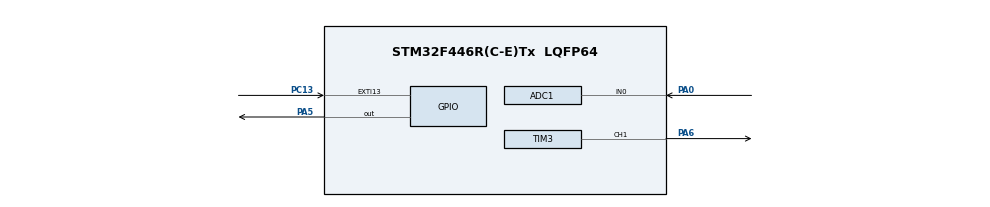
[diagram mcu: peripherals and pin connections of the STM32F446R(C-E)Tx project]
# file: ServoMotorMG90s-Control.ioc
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ADC1.Channel-0\#ChannelRegularConversion=ADC_CHANNEL_0
ADC1.ContinuousConvMode=DISABLE
ADC1.NbrOfConversionFlag=1
ADC1.Rank-0\#ChannelRegularConversion=1
ADC1.SamplingTime-0\#ChannelRegularConversion=ADC_SAMPLETIME_84CYCLES
ADC1.master=1
Mcu.Family=STM32F4
Mcu.Name=STM32F446R(C-E)Tx
Mcu.Package=LQFP64
NVIC.EXTI15_10_IRQn=true\:0\:0\:false\:false\:true\:true\:true\:true
NVIC.PriorityGroup=NVIC_PRIORITYGROUP_4
PA0-WKUP.Signal=ADCx_IN0
PA13.Mode=Serial_Wire
PA13.Signal=SYS_JTMS-SWDIO
PA14.Mode=Serial_Wire
PA14.Signal=SYS_JTCK-SWCLK
PA5.Signal=GPIO_Output
PA6.Signal=S_TIM3_CH1
PC13.GPIO_ModeDefaultEXTI=GPIO_MODE_IT_FALLING
PC13.Signal=GPXTI13
ProjectManager.HeapSize=0x200
ProjectManager.StackSize=0x400
ProjectManager.TargetToolchain=STM32CubeIDE
RCC.CortexFreq_Value=16000000
RCC.USBFreq_Value=96000000
RCC.VCOOutputFreq_Value=192000000
SH.ADCx_IN0.0=ADC1_IN0,IN0
SH.S_TIM3_CH1.0=TIM3_CH1,PWM Generation1 CH1
TIM3.AutoReloadPreload=TIM_AUTORELOAD_PRELOAD_ENABLE
TIM3.Channel-PWM\ Generation1\ CH1=TIM_CHANNEL_1
TIM3.Period=19999
TIM3.Prescaler=15
VP_TIM3_VS_ClockSourceINT.Mode=Internal
board=custom

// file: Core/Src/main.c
/* USER CODE BEGIN Header */
/**
  ******************************************************************************
  * @file           : main.c
  * @brief          : Main program body
  ******************************************************************************
  * @attention
  *
  * Copyright (c) 2026 STMicroelectronics.
  * All rights reserved.
  *
  * This software is licensed under terms that can be found in the LICENSE file
  * in the root directory of this software component.
  * If no LICENSE file comes with this software, it is provided AS-IS.
  *
  ******************************************************************************
  */
/* USER CODE END Header */
#include "main.h"

/* USER CODE BEGIN PD */
#define SERVO_MIN_US   500
#define SERVO_MAX_US   2700
#define ADC_MAX        4095
#define MODE_AUTO      0
#define MODE_POT       1
#define DEBOUNCE_MS    200
/* USER CODE END PD */

ADC_HandleTypeDef hadc1;

TIM_HandleTypeDef htim3;

/* USER CODE BEGIN PV */
volatile uint8_t  mode = MODE_AUTO;
volatile uint32_t last_press_tick = 0;

uint32_t adc_raw = 0;
uint32_t adc_filtered = 0;
uint32_t pulse_us = 1500;

int32_t cycle_angle = 0;
int32_t cycle_dir = 1;
/* USER CODE END PV */

void SystemClock_Config(void);
static void MX_GPIO_Init(void);
static void MX_TIM3_Init(void);
static void MX_ADC1_Init(void);

int main(void)
{

  /* MCU Configuration--------------------------------------------------------*/

  /* Reset of all peripherals, Initializes the Flash interface and the Systick. */
  HAL_Init();

  /* Configure the system clock */
  SystemClock_Config();

  /* Initialize all configured peripherals */
  MX_GPIO_Init();
  MX_TIM3_Init();
  MX_ADC1_Init();
  /* USER CODE BEGIN 2 */
  HAL_TIM_PWM_Start(&htim3, TIM_CHANNEL_1);
  HAL_GPIO_WritePin(GPIOA, GPIO_PIN_5, GPIO_PIN_RESET);
  /* USER CODE END 2 */

  /* Infinite loop */
  while (1)
  {

    /* USER CODE BEGIN 3 */
	  if (mode == MODE_AUTO)
	  {
	      cycle_angle += cycle_dir;
	      if (cycle_angle >= 180) { cycle_angle = 180; cycle_dir = -1; }
	      else if (cycle_angle <= 0) { cycle_angle = 0; cycle_dir = 1; }

	      pulse_us = SERVO_MIN_US + ((uint32_t)cycle_angle * (SERVO_MAX_US - SERVO_MIN_US)) / 180;
	  }
	  else
	  {
	      HAL_ADC_Start(&hadc1);
	      if (HAL_ADC_PollForConversion(&hadc1, 10) == HAL_OK)
	      {
	          adc_raw = HAL_ADC_GetValue(&hadc1);
	          adc_filtered = (adc_filtered * 7 + adc_raw) / 8;
	          pulse_us = SERVO_MIN_US + (adc_filtered * (SERVO_MAX_US - SERVO_MIN_US)) / ADC_MAX;
	      }
	      HAL_ADC_Stop(&hadc1);
	  }

	  __HAL_TIM_SET_COMPARE(&htim3, TIM_CHANNEL_1, pulse_us);
	  HAL_Delay(10);
  }
  /* USER CODE END 3 */
}

void SystemClock_Config(void)
{
  RCC_OscInitTypeDef RCC_OscInitStruct = {0};
  RCC_ClkInitTypeDef RCC_ClkInitStruct = {0};

  /** Configure the main internal regulator output voltage
  */
  __HAL_RCC_PWR_CLK_ENABLE();
  __HAL_PWR_VOLTAGESCALING_CONFIG(PWR_REGULATOR_VOLTAGE_SCALE3);

  /** Initializes the RCC Oscillators according to the specified parameters
  * in the RCC_OscInitTypeDef structure.
  */
  RCC_OscInitStruct.OscillatorType = RCC_OSCILLATORTYPE_HSI;
  RCC_OscInitStruct.HSIState = RCC_HSI_ON;
  RCC_OscInitStruct.HSICalibrationValue = RCC_HSICALIBRATION_DEFAULT;
  RCC_OscInitStruct.PLL.PLLState = RCC_PLL_NONE;
  if (HAL_RCC_OscConfig(&RCC_OscInitStruct) != HAL_OK)
  {
    Error_Handler();
  }

  /** Initializes the CPU, AHB and APB buses clocks
  */
  RCC_ClkInitStruct.ClockType = RCC_CLOCKTYPE_HCLK|RCC_CLOCKTYPE_SYSCLK
                              |RCC_CLOCKTYPE_PCLK1|RCC_CLOCKTYPE_PCLK2;
  RCC_ClkInitStruct.SYSCLKSource = RCC_SYSCLKSOURCE_HSI;
  RCC_ClkInitStruct.AHBCLKDivider = RCC_SYSCLK_DIV1;
  RCC_ClkInitStruct.APB1CLKDivider = RCC_HCLK_DIV1;
  RCC_ClkInitStruct.APB2CLKDivider = RCC_HCLK_DIV1;

  if (HAL_RCC_ClockConfig(&RCC_ClkInitStruct, FLASH_LATENCY_0) != HAL_OK)
  {
    Error_Handler();
  }
}

static void MX_ADC1_Init(void)
{

  ADC_ChannelConfTypeDef sConfig = {0};

  /** Configure the global features of the ADC (Clock, Resolution, Data Alignment and number of conversion)
  */
  hadc1.Instance = ADC1;
  hadc1.Init.ClockPrescaler = ADC_CLOCK_SYNC_PCLK_DIV2;
  hadc1.Init.Resolution = ADC_RESOLUTION_12B;
  hadc1.Init.ScanConvMode = DISABLE;
  hadc1.Init.ContinuousConvMode = DISABLE;
  hadc1.Init.DiscontinuousConvMode = DISABLE;
  hadc1.Init.ExternalTrigConvEdge = ADC_EXTERNALTRIGCONVEDGE_NONE;
  hadc1.Init.ExternalTrigConv = ADC_SOFTWARE_START;
  hadc1.Init.DataAlign = ADC_DATAALIGN_RIGHT;
  hadc1.Init.NbrOfConversion = 1;
  hadc1.Init.DMAContinuousRequests = DISABLE;
  hadc1.Init.EOCSelection = ADC_EOC_SINGLE_CONV;
  if (HAL_ADC_Init(&hadc1) != HAL_OK)
  {
    Error_Handler();
  }

  /** Configure for the selected ADC regular channel its corresponding rank in the sequencer and its sample time.
  */
  sConfig.Channel = ADC_CHANNEL_0;
  sConfig.Rank = 1;
  sConfig.SamplingTime = ADC_SAMPLETIME_84CYCLES;
  if (HAL_ADC_ConfigChannel(&hadc1, &sConfig) != HAL_OK)
  {
    Error_Handler();
  }

}

static void MX_TIM3_Init(void)
{

  TIM_ClockConfigTypeDef sClockSourceConfig = {0};
  TIM_MasterConfigTypeDef sMasterConfig = {0};
  TIM_OC_InitTypeDef sConfigOC = {0};

  htim3.Instance = TIM3;
  htim3.Init.Prescaler = 15;
  htim3.Init.CounterMode = TIM_COUNTERMODE_UP;
  htim3.Init.Period = 19999;
  htim3.Init.ClockDivision = TIM_CLOCKDIVISION_DIV1;
  htim3.Init.AutoReloadPreload = TIM_AUTORELOAD_PRELOAD_ENABLE;
  if (HAL_TIM_Base_Init(&htim3) != HAL_OK)
  {
    Error_Handler();
  }
  sClockSourceConfig.ClockSource = TIM_CLOCKSOURCE_INTERNAL;
  if (HAL_TIM_ConfigClockSource(&htim3, &sClockSourceConfig) != HAL_OK)
  {
    Error_Handler();
  }
  if (HAL_TIM_PWM_Init(&htim3) != HAL_OK)
  {
    Error_Handler();
  }
  sMasterConfig.MasterOutputTrigger = TIM_TRGO_RESET;
  sMasterConfig.MasterSlaveMode = TIM_MASTERSLAVEMODE_DISABLE;
  if (HAL_TIMEx_MasterConfigSynchronization(&htim3, &sMasterConfig) != HAL_OK)
  {
    Error_Handler();
  }
  sConfigOC.OCMode = TIM_OCMODE_PWM1;
  sConfigOC.Pulse = 0;
  sConfigOC.OCPolarity = TIM_OCPOLARITY_HIGH;
  sConfigOC.OCFastMode = TIM_OCFAST_DISABLE;
  if (HAL_TIM_PWM_ConfigChannel(&htim3, &sConfigOC, TIM_CHANNEL_1) != HAL_OK)
  {
    Error_Handler();
  }
  HAL_TIM_MspPostInit(&htim3);

}

static void MX_GPIO_Init(void)
{
  GPIO_InitTypeDef GPIO_InitStruct = {0};

  /* GPIO Ports Clock Enable */
  __HAL_RCC_GPIOC_CLK_ENABLE();
  __HAL_RCC_GPIOA_CLK_ENABLE();

  /*Configure GPIO pin Output Level */
  HAL_GPIO_WritePin(GPIOA, GPIO_PIN_5, GPIO_PIN_RESET);

  /*Configure GPIO pin : PC13 */
  GPIO_InitStruct.Pin = GPIO_PIN_13;
  GPIO_InitStruct.Mode = GPIO_MODE_IT_FALLING;
  GPIO_InitStruct.Pull = GPIO_NOPULL;
  HAL_GPIO_Init(GPIOC, &GPIO_InitStruct);

  /*Configure GPIO pin : PA5 */
  GPIO_InitStruct.Pin = GPIO_PIN_5;
  GPIO_InitStruct.Mode = GPIO_MODE_OUTPUT_PP;
  GPIO_InitStruct.Pull = GPIO_NOPULL;
  GPIO_InitStruct.Speed = GPIO_SPEED_FREQ_LOW;
  HAL_GPIO_Init(GPIOA, &GPIO_InitStruct);

  /* EXTI interrupt init*/
  HAL_NVIC_SetPriority(EXTI15_10_IRQn, 0, 0);
  HAL_NVIC_EnableIRQ(EXTI15_10_IRQn);

}

/* USER CODE BEGIN 4 */
void HAL_GPIO_EXTI_Callback(uint16_t GPIO_Pin)
{
    if (GPIO_Pin == GPIO_PIN_13)
    {
        uint32_t now = HAL_GetTick();
        if ((now - last_press_tick) >= DEBOUNCE_MS)
        {
            last_press_tick = now;
            mode ^= 1;
            HAL_GPIO_WritePin(GPIOA, GPIO_PIN_5,
                              (mode == MODE_POT) ? GPIO_PIN_SET : GPIO_PIN_RESET);
        }
    }
}
/* USER CODE END 4 */

void Error_Handler(void)
{
  __disable_irq();
  while (1)
  {
  }
}
